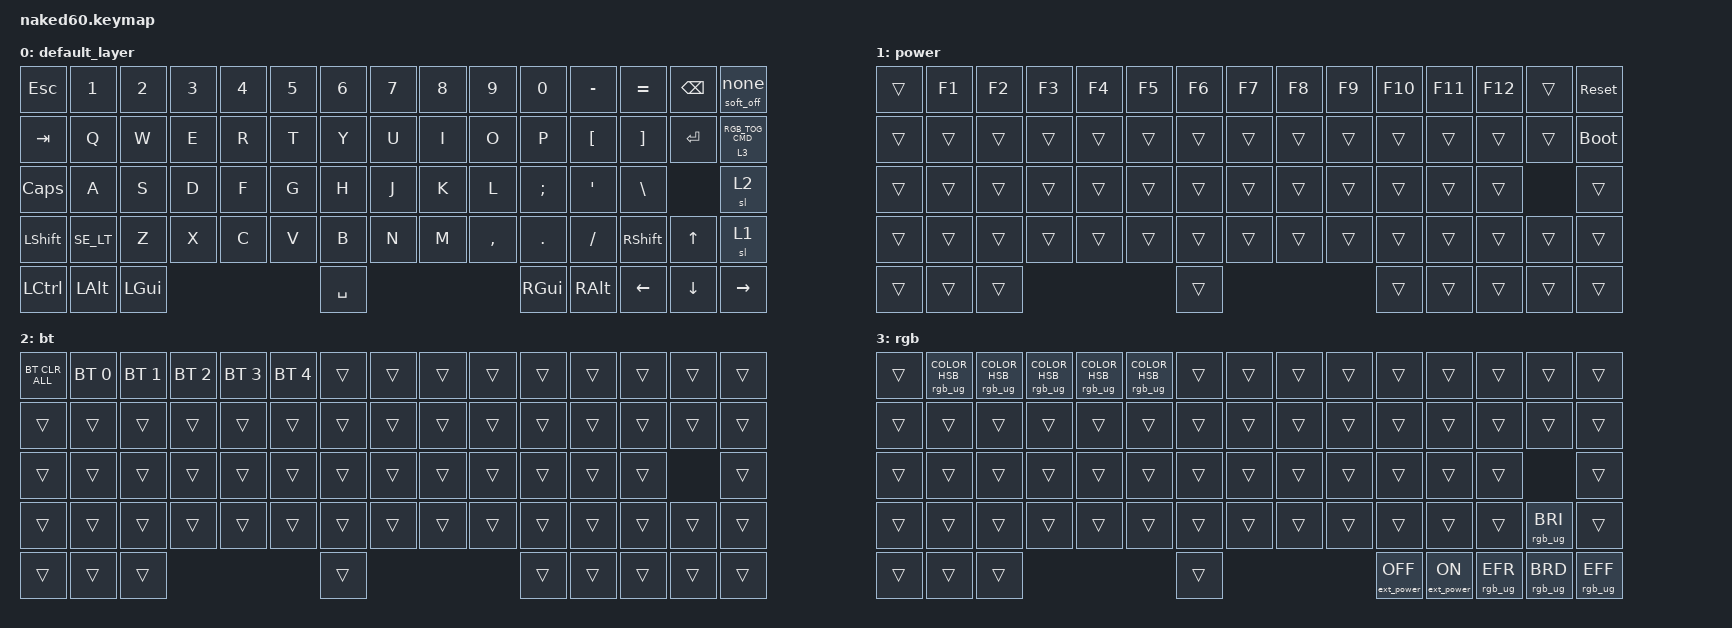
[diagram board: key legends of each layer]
#include <behaviors.dtsi>
#include <dt-bindings/zmk/bt.h>
#include <dt-bindings/zmk/ext_power.h>
#include <dt-bindings/zmk/keys.h>
#include <dt-bindings/zmk/rgb.h>
#include "keys_se.h"

/ {
    // behaviors {
    //     f1_bt_0: f1_bt_0 {
    //         compatible = "zmk,behavior-mod-morph";
    //         label = "f1_bt_0";
    //         #binding-cells = <0>;
    //         bindings = <&kp F1>, <&bt BT_SEL 0>;
    //         mods = <(MOD_LSFT|MOD_RSFT)>;
    //     };
    //     f2_bt_1: f2_bt_1 {
    //         compatible = "zmk,behavior-mod-morph";
    //         label = "f2_bt_1";
    //         #binding-cells = <0>;
    //         bindings = <&kp F2>, <&bt BT_SEL 1>;
    //         mods = <(MOD_LSFT|MOD_RSFT)>;
    //     };
    //     f3_bt_2: f3_bt_2 {
    //         compatible = "zmk,behavior-mod-morph";
    //         label = "f3_bt_2";
    //         #binding-cells = <0>;
    //         bindings = <&kp F3>, <&bt BT_SEL 2>;
    //         mods = <(MOD_LSFT|MOD_RSFT)>;
    //     };
    //     f4_bt_3: f4_bt_3 {
    //         compatible = "zmk,behavior-mod-morph";
    //         label = "f4_bt_3";
    //         #binding-cells = <0>;
    //         bindings = <&kp F4>, <&bt BT_SEL 3>;
    //         mods = <(MOD_LSFT|MOD_RSFT)>;
    //     };
    //     f11_bt_clear: f11_bt_clear {
    //         compatible = "zmk,behavior-mod-morph";
    //         label = "f11_bt_clear";
    //         #binding-cells = <0>;
    //         bindings = <&kp F11>, <&bt BT_CLR_ALL>;
    //         mods = <(MOD_LSFT|MOD_RSFT)>;
    //     };
    //     f12_reset: f12_reset {
    //         compatible = "zmk,behavior-mod-morph";
    //         label = "f12_reset";
    //         #binding-cells = <0>;
    //         bindings = <&kp F12>, <&sys_reset>;
    //         mods = <(MOD_LSFT|MOD_RSFT)>;
    //     };
    // };

    behaviors {
        soft_off_hold: soft_off_hold {
            compatible = "zmk,behavior-hold-tap";
            label = "SOFT_OFF_HOLD";
            flavor = "hold-preferred";
            bindings = <&soft_off>, <&none>;

            #binding-cells = <2>;
            tapping-term-ms = <250>;
        };

        rgb_behavior: rgb_behavior {
            compatible = "zmk,behavior-hold-tap";
            label = "RGB_BEHAVIOR";
            flavor = "tap-preferred";
            bindings = <&mo>, <&rgb_ug>;

            #binding-cells = <2>;
            tapping-term-ms = <200>;
        };
    };

    keymap {
        compatible = "zmk,keymap";

        default_layer {
            bindings = <
&kp ESC    &kp N1     &kp N2    &kp N3  &kp N4  &kp N5  &kp N6     &kp N7  &kp N8  &kp N9     &kp N0    &kp MINUS  &kp EQUAL       &kp BSPC        &soft_off_hold 0 0
&kp TAB    &kp Q      &kp W     &kp E   &kp R   &kp T   &kp Y      &kp U   &kp I   &kp O      &kp P     &kp LBKT   &kp RBKT        &kp ENTER       &rgb_behavior 3 RGB_TOG_CMD
&kp CAPS   &kp A      &kp S     &kp D   &kp F   &kp G   &kp H      &kp J   &kp K   &kp L      &kp SEMI  &kp APOS   &kp BACKSLASH                   &sl 2
&kp LSHFT  &kp SE_LT  &kp Z     &kp X   &kp C   &kp V   &kp B      &kp N   &kp M   &kp COMMA  &kp DOT   &kp FSLH   &kp RSHFT       &kp UP_ARROW    &sl 1
&kp LCTRL  &kp LALT   &kp LGUI                          &kp SPACE                             &kp RGUI  &kp RALT   &kp LEFT_ARROW  &kp DOWN_ARROW  &kp RIGHT_ARROW
            >;
        };

        power {
            bindings = <
&trans  &kp F1  &kp F2  &kp F3  &kp F4  &kp F5  &kp F6  &kp F7  &kp F8  &kp F9  &kp F10  &kp F11  &kp F12  &trans  &sys_reset
&trans  &trans  &trans  &trans  &trans  &trans  &trans  &trans  &trans  &trans  &trans   &trans   &trans   &trans  &bootloader
&trans  &trans  &trans  &trans  &trans  &trans  &trans  &trans  &trans  &trans  &trans   &trans   &trans           &trans
&trans  &trans  &trans  &trans  &trans  &trans  &trans  &trans  &trans  &trans  &trans   &trans   &trans   &trans  &trans
&trans  &trans  &trans                          &trans                          &trans   &trans   &trans   &trans  &trans
            >;
        };

        bt {
            bindings = <
&bt BT_CLR_ALL  &bt BT_SEL 0  &bt BT_SEL 1  &bt BT_SEL 2  &bt BT_SEL 3  &bt BT_SEL 4  &trans  &trans  &trans  &trans  &trans  &trans  &trans  &trans  &trans
&trans          &trans        &trans        &trans        &trans        &trans        &trans  &trans  &trans  &trans  &trans  &trans  &trans  &trans  &trans
&trans          &trans        &trans        &trans        &trans        &trans        &trans  &trans  &trans  &trans  &trans  &trans  &trans          &trans
&trans          &trans        &trans        &trans        &trans        &trans        &trans  &trans  &trans  &trans  &trans  &trans  &trans  &trans  &trans
&trans          &trans        &trans                                                  &trans                          &trans  &trans  &trans  &trans  &trans
            >;
        };

        rgb {
            bindings = <
&trans  &rgb_ug RGB_COLOR_HSB(0,0,100)  &rgb_ug RGB_COLOR_HSB(0,100,50)  &rgb_ug RGB_COLOR_HSB(227,100,50)  &rgb_ug RGB_COLOR_HSB(115,100,50)  &rgb_ug RGB_COLOR_HSB(194,100,50)  &trans  &trans  &trans  &trans  &trans             &trans            &trans           &trans           &trans
&trans  &trans                          &trans                           &trans                             &trans                             &trans                             &trans  &trans  &trans  &trans  &trans             &trans            &trans           &trans           &trans
&trans  &trans                          &trans                           &trans                             &trans                             &trans                             &trans  &trans  &trans  &trans  &trans             &trans            &trans                            &trans
&trans  &trans                          &trans                           &trans                             &trans                             &trans                             &trans  &trans  &trans  &trans  &trans             &trans            &trans           &rgb_ug RGB_BRI  &trans
&trans  &trans                          &trans                                                                                                                                    &trans                          &ext_power EP_OFF  &ext_power EP_ON  &rgb_ug RGB_EFR  &rgb_ug RGB_BRD  &rgb_ug RGB_EFF
            >;
        };
    };
};
